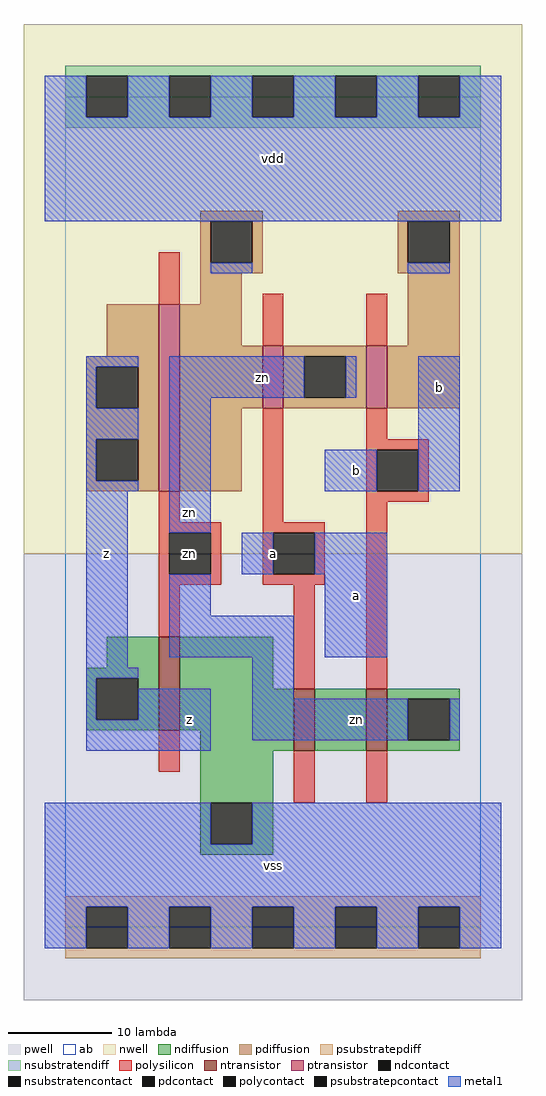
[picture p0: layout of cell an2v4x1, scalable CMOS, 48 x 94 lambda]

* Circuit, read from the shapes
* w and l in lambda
.subckt an2v4x1 a b vdd vss z zn
M1 vss zn z vss nfet w=9 l=2
M2 n1 a vss vss nfet w=6 l=2
M3 zn b n1 vss nfet w=6 l=2
M4 vdd zn z vdd pfet w=18 l=2
M5 zn a vdd vdd pfet w=6 l=2
M6 vdd b zn vdd pfet w=6 l=2
.ends

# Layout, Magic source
magic
tech scmos
<< ab >>
rect 0 0 40 80
<< pwell >>
rect -4 -7 44 36
<< nwell >>
rect -4 36 44 87
<< polysilicon >>
rect 9 60 11 65
rect 19 56 21 61
rect 29 56 31 61
rect 9 39 11 42
rect 19 39 21 50
rect 29 47 31 50
rect 29 46 35 47
rect 29 42 30 46
rect 34 42 35 46
rect 29 41 35 42
rect 9 38 15 39
rect 9 34 10 38
rect 14 34 15 38
rect 9 33 15 34
rect 19 38 25 39
rect 19 34 20 38
rect 24 34 25 38
rect 19 33 25 34
rect 9 28 11 33
rect 22 23 24 33
rect 29 23 31 41
rect 9 15 11 19
rect 22 12 24 17
rect 29 12 31 17
<< ndiffusion >>
rect 4 25 9 28
rect 2 24 9 25
rect 2 20 3 24
rect 7 20 9 24
rect 2 19 9 20
rect 11 23 20 28
rect 11 19 22 23
rect 13 17 22 19
rect 24 17 29 23
rect 31 22 38 23
rect 31 18 33 22
rect 37 18 38 22
rect 31 17 38 18
rect 13 12 20 17
rect 13 8 14 12
rect 18 8 20 12
rect 13 7 20 8
<< pdiffusion >>
rect 13 68 19 69
rect 13 64 14 68
rect 18 64 19 68
rect 13 63 19 64
rect 32 68 38 69
rect 32 64 33 68
rect 37 64 38 68
rect 32 63 38 64
rect 13 60 17 63
rect 4 55 9 60
rect 2 54 9 55
rect 2 50 3 54
rect 7 50 9 54
rect 2 47 9 50
rect 2 43 3 47
rect 7 43 9 47
rect 2 42 9 43
rect 11 56 17 60
rect 33 56 38 63
rect 11 50 19 56
rect 21 55 29 56
rect 21 51 23 55
rect 27 51 29 55
rect 21 50 29 51
rect 31 50 38 56
rect 11 42 17 50
<< metal1 >>
rect -2 78 2 82
rect 6 78 10 82
rect 14 78 18 82
rect 22 78 26 82
rect 30 78 34 82
rect 38 78 42 82
rect -2 68 42 78
rect 14 63 18 64
rect 33 63 37 64
rect 2 54 7 55
rect 2 50 3 54
rect 2 47 7 50
rect 2 43 3 47
rect 2 42 7 43
rect 10 51 23 55
rect 27 51 28 55
rect 2 25 6 42
rect 10 38 14 51
rect 25 42 30 46
rect 34 42 38 55
rect 17 34 20 38
rect 24 34 31 38
rect 10 30 14 34
rect 10 26 22 30
rect 25 26 31 34
rect 2 24 7 25
rect 2 20 3 24
rect 7 20 14 23
rect 2 17 14 20
rect 18 22 22 26
rect 18 18 33 22
rect 37 18 38 22
rect -2 8 14 12
rect 18 8 42 12
rect -2 2 42 8
rect -2 -2 2 2
rect 6 -2 10 2
rect 14 -2 18 2
rect 22 -2 26 2
rect 30 -2 34 2
rect 38 -2 42 2
<< ntransistor >>
rect 9 19 11 28
rect 22 17 24 23
rect 29 17 31 23
<< ptransistor >>
rect 9 42 11 60
rect 19 50 21 56
rect 29 50 31 56
<< polycontact >>
rect 30 42 34 46
rect 10 34 14 38
rect 20 34 24 38
<< ndcontact >>
rect 3 20 7 24
rect 33 18 37 22
rect 14 8 18 12
<< pdcontact >>
rect 14 64 18 68
rect 33 64 37 68
rect 3 50 7 54
rect 3 43 7 47
rect 23 51 27 55
<< psubstratepcontact >>
rect 2 -2 6 2
rect 10 -2 14 2
rect 18 -2 22 2
rect 26 -2 30 2
rect 34 -2 38 2
<< nsubstratencontact >>
rect 2 78 6 82
rect 10 78 14 82
rect 18 78 22 82
rect 26 78 30 82
rect 34 78 38 82
<< psubstratepdiff >>
rect 0 2 40 3
rect 0 -2 2 2
rect 6 -2 10 2
rect 14 -2 18 2
rect 22 -2 26 2
rect 30 -2 34 2
rect 38 -2 40 2
rect 0 -3 40 -2
<< nsubstratendiff >>
rect 0 82 40 83
rect 0 78 2 82
rect 6 78 10 82
rect 14 78 18 82
rect 22 78 26 82
rect 30 78 34 82
rect 38 78 40 82
rect 0 77 40 78
<< labels >>
rlabel polycontact 12 36 12 36 6 zn
rlabel metal1 4 36 4 36 6 z
rlabel metal1 12 20 12 20 6 z
rlabel metal1 12 40 12 40 6 zn
rlabel metal1 20 6 20 6 6 vss
rlabel metal1 20 36 20 36 6 a
rlabel metal1 28 32 28 32 6 a
rlabel metal1 28 44 28 44 6 b
rlabel metal1 19 53 19 53 6 zn
rlabel metal1 20 74 20 74 6 vdd
rlabel metal1 28 20 28 20 6 zn
rlabel metal1 36 52 36 52 6 b
<< end >>
